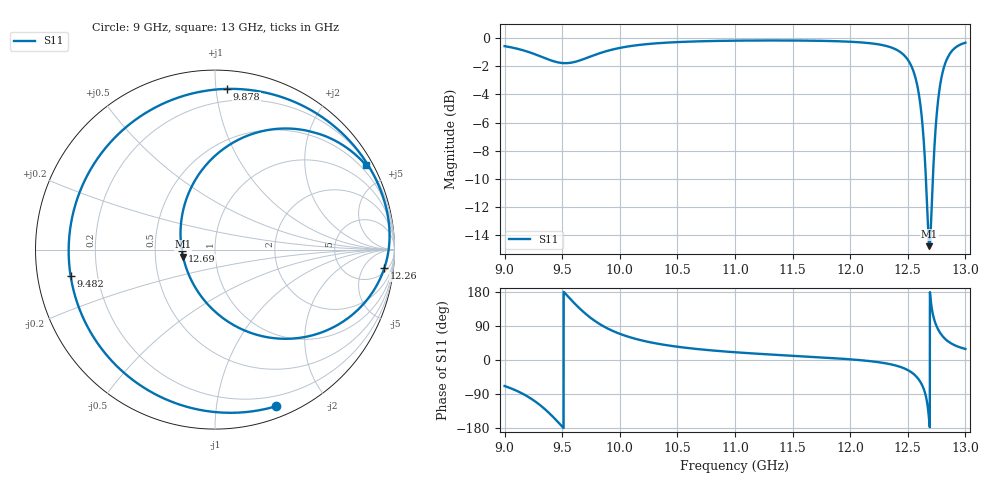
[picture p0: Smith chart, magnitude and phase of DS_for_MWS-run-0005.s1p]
! TOUCHSTONE file generated by CST DESIGN STUDIO
! Date and time: Tue Feb  4 18:00:53 2025
! Project name: C:\Work\MatlabApps\UnitCellOptimizationMatlab\CST\unitcell.cst
! Tree item: Tasks\Sweep1\SPara1\S-Parameters
! Header version: 2024
! Port assignment regex: !\s*Touchstone port\s*([0-9]+)\s*=\s*(CST MWS port|CST DES external port|CST DES block port)\s*(.+)\s* \(\"(.*)\"\)(\s*mode\s*([0-9]+))?.*
! Touchstone port assignment:
! Touchstone port 1 = CST DES external port 1 ("")
# GHz S MA R 50
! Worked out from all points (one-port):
!   4001 points, 9 GHz to 13 GHz, reference 50 ohm
!   lowest |S11| = -14.8 dB at 12.69 GHz (marker M1), VSWR 1.45, Z = 34.8 - j2.85 ohm
!   |S11| at or under -10 dB: 12.65725 GHz to 12.71742 GHz (60.17 MHz wide, 0.474 % of centre)
!   S11 on the Smith chart (normalised r, x): 9 GHz: 0.10, -1.46; 9.482 GHz: 0.10, -0.09; 9.878 GHz: 0.12, +1.07; 12.26 GHz: 7, -15; 12.69 GHz: 0.69, -0.01; 13 GHz: 0.29, +3.82
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9  0.9368 -68.7
9.16  0.9058 -89.5
9.274  0.8736 -111.2
9.374  0.8419 -136.4
9.482  0.8177 -169.8
9.5  0.816 -175.7
9.585  0.8194 156.3
9.689  0.8436 125.6
9.776  0.8699 104.7
9.878  0.8979 85.7
10  0.9234 69.1
10.216  0.9509 49.9
10.5  0.9685 35.0
11  0.9799 20.5
11.5  0.9811 11.2
12  0.9713 1.8
12.256  0.9492 -6.2
12.404  0.9089 -15.2
12.5  0.8385 -26.6
12.562  0.7344 -40.0
12.617  0.5449 -61.9
12.652  0.3492 -89.3
12.688  0.1824 -167.5
12.691  0.1844 -177.5
12.742  0.4814 95.1
12.788  0.7094 68.4
12.877  0.8947 43.7
13  0.9637 29.2
